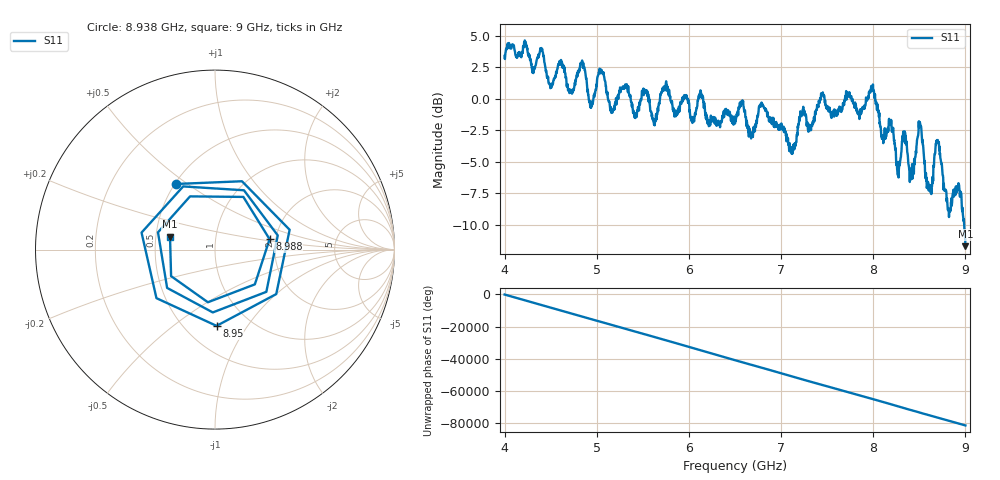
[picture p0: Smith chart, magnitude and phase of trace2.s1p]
! Created with skrf 1.8.0 (http://scikit-rf.org).
# Hz S RI R 50.0
!freq ReS11 ImS11
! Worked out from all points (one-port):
!   1601 points, 4 GHz to 9 GHz, reference 50 ohm
!   lowest |S11| = -11.7 dB at 9 GHz (marker M1), VSWR 1.71, Z = 29.7 + j4.61 ohm
!   |S11| at or under -10 dB: 8.98686 GHz to end of sweep
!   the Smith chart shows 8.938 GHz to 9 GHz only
!   S11 on the Smith chart (normalised r, x): 8.938 GHz: 0.51, +0.45; 8.95 GHz: 0.70, -0.73; 8.988 GHz: 1.85, +0.24; 9 GHz: 0.59, +0.09
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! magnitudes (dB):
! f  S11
! 4 GHz  3.4
! 4.625 GHz  2.6
! 4.716 GHz  0.7
! 4.847 GHz  2.8
! 4.938 GHz  -0.7
! 5.041 GHz  2.3
! 5.162 GHz  -1.1
! 5.25 GHz  0.6
! 5.875 GHz  -1.2
! 6.5 GHz  -2.0
! 6.675 GHz  -3.1
! 6.8 GHz  -0.5
! 7.125 GHz  -4.0
! 7.228 GHz  -1.1
! 7.75 GHz  0.1
! 7.988 GHz  0.8
! 8.272 GHz  -5.5
! 8.334 GHz  -2.8
! 8.375 GHz  -4.5
! 8.416 GHz  -5.9
! 8.509 GHz  -2.0
! 8.606 GHz  -6.8
! 8.7 GHz  -3.3
! 8.822 GHz  -9.4
! 8.938 GHz  -7.4
! 8.95 GHz  -7.4
! 8.988 GHz  -10.2
! 9 GHz  -11.7
